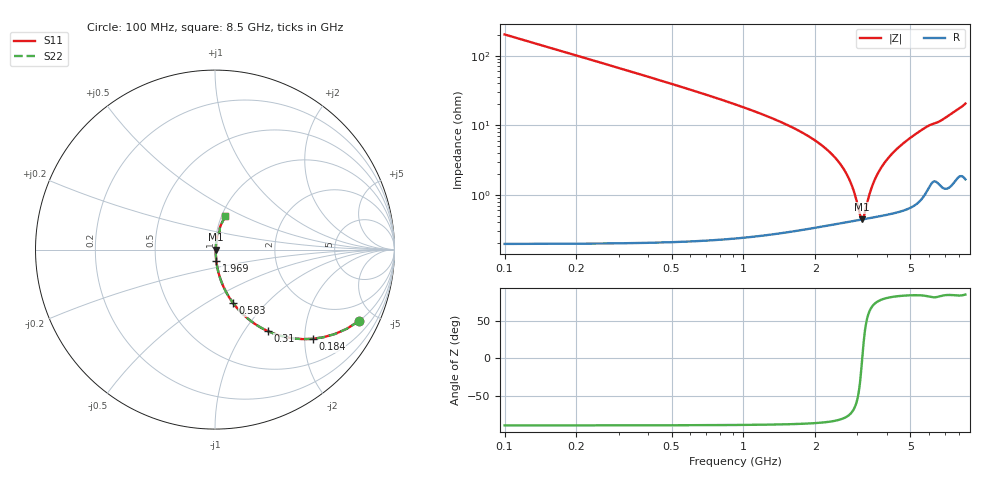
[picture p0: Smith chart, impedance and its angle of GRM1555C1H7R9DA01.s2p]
!Murata Part Number: GRM1555C1H7R9DA01
!These Parameters are Measured in Series Mode Connection
!Data Generated on Mar 30, 2021
!  o--ll--o
!Port1  Port2
!  o------o
!Operation Temp=25[degC], DC Bias Voltage=0[V]
!Freq. Start=100[MHz] Stop=9[GHz] 401[Steps]
# Hz S RI R 50
!Freq.(Hz) S11(Real) S11(Imag) S21(Real) S21(Imag) S12(Real) S12(Imag) S22(Real) S22(Imag)
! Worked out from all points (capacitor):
!   401 points, 100 MHz to 8.5 GHz, reference 50 ohm
!   read as one part in series: C = 7.9 pF near 142 MHz
!   lowest |Z| = 442 mohm at 3.145 GHz (marker M1)
!   series resonance near 3.144 GHz, so ESL is about 320 pH
!   S11 on the Smith chart (normalised r, x): 100 MHz: 1.00, -4.03; 184 MHz: 1.00, -2.18; 310 MHz: 1.00, -1.29; 583 MHz: 1.00, -0.67; 1.969 GHz: 1.01, -0.12; 8.5 GHz: 1.03, +0.41
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1e8  0.8018 -0.3982  0.1982 0.3982  0.1982 0.3982  0.8018 -0.3982
1.84e8  0.5434 -0.4972  0.4566 0.4972  0.4566 0.4972  0.5434 -0.4972
3.1e8  0.2934 -0.4538  0.7066 0.4538  0.7066 0.4538  0.2934 -0.4538
4.36e8  0.1714 -0.3746  0.8286 0.3746  0.8286 0.3746  0.1714 -0.3746
5.83e8  0.1016 -0.299  0.8984 0.299  0.8984 0.299  0.1016 -0.299
9.61e8  0.0369 -0.1824  0.9631 0.1824  0.9631 0.1824  0.0369 -0.1824
1.507e9  0.0132 -0.1012  0.9868 0.1012  0.9868 0.1012  0.0132 -0.1012
1.969e9  0.00712 -0.0615  0.9929 0.0615  0.9929 0.0615  0.00712 -0.0615
2.557e9  0.00458 -0.0265  0.9954 0.0265  0.9954 0.0265  0.00458 -0.0265
2.767e9  0.00434 -0.0163  0.9957 0.0163  0.9957 0.0163  0.00434 -0.0163
2.914e9  0.00429 -0.00971  0.9957 0.00971  0.9957 0.00971  0.00429 -0.00971
3.082e9  0.00435 -0.00254  0.9957 0.00254  0.9957 0.00254  0.00435 -0.00254
3.145e9  0.0044 4.7e-05  0.9956 -4.7e-05  0.9956 -4.7e-05  0.0044 4.7e-05
3.208e9  0.00446 0.00259  0.9955 -0.00259  0.9955 -0.00259  0.00446 0.00259
3.418e9  0.00474 0.0108  0.9953 -0.0108  0.9953 -0.0108  0.00474 0.0108
3.607e9  0.00511 0.0178  0.9949 -0.0178  0.9949 -0.0178  0.00511 0.0178
3.901e9  0.00584 0.0282  0.9942 -0.0282  0.9942 -0.0282  0.00584 0.0282
4.3e9  0.00717 0.0417  0.9928 -0.0417  0.9928 -0.0417  0.00717 0.0417
4.909e9  0.0101 0.0614  0.9899 -0.0614  0.9899 -0.0614  0.0101 0.0614
5.707e9  0.0173 0.0871  0.9827 -0.0871  0.9827 -0.0871  0.0173 0.0871
7.114e9  0.0286 0.1265  0.9714 -0.1265  0.9714 -0.1265  0.0286 0.1265
8.5e9  0.0545 0.1899  0.9455 -0.1899  0.9455 -0.1899  0.0545 0.1899
